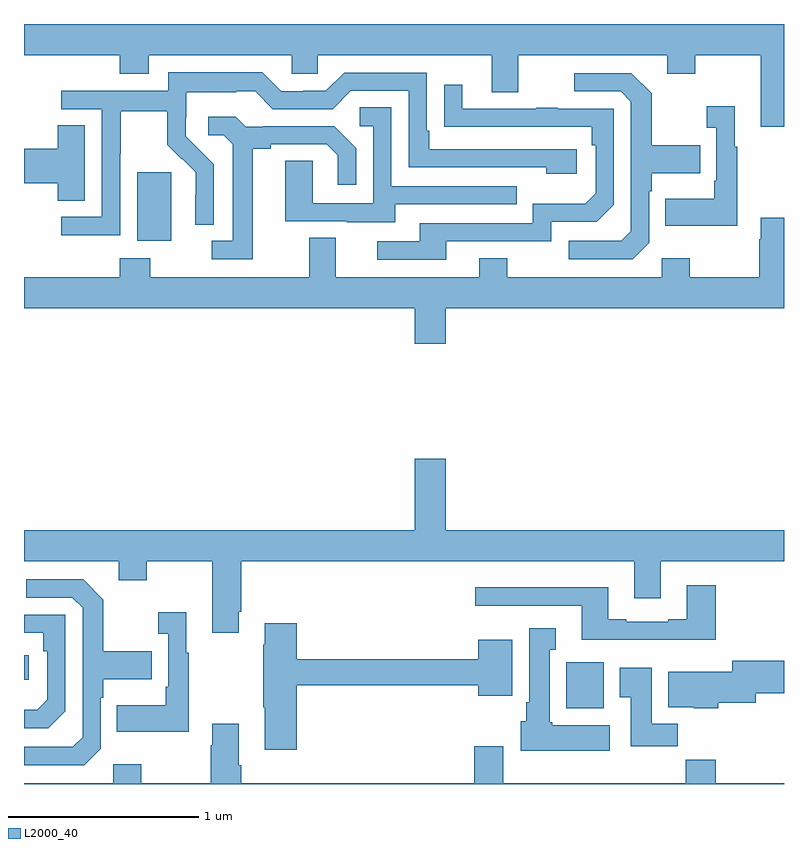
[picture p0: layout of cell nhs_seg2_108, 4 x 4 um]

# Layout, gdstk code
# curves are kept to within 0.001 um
import gdstk
lib = gdstk.Library(unit=1e-6, precision=1e-09)
def R(c, l, rs):  # rectangles x0, y0, x1, y1
    for r in rs: c.add(gdstk.rectangle(r[:2], r[2:], *l))
def P(c, l, *ps):  # polygons
    for p in ps: c.add(gdstk.Polygon(p, *l))
L2000_40 = (2000, 40)

nhs_seg2_108 = lib.new_cell('nhs_seg2_108')
R(nhs_seg2_108, L2000_40, [(117.854,644.198,118.051,644.44), (115,644.348,115.024,644.478), (115.595,646.658,115.774,647.019)])
P(nhs_seg2_108, L2000_40, [(119,647.8),(115,647.8),(115,647.636),(115.505,647.636),(115.505,647.537),(115.657,647.537),(115.657,647.636),(116.409,647.636),(116.409,647.538),(116.547,647.538),(116.547,647.636),(117.461,647.636),(117.461,647.442),(117.601,647.442),(117.601,647.636),(118.385,647.636),(118.385,647.537),(118.533,647.537),(118.533,647.636),(118.877,647.636),(118.877,647.259),(119,647.259)],
  [(115.506,647.116),(115.509,647.116),(115.509,647.34),(115.753,647.34),(115.753,647.165),(115.83,647.088),(115.833,647.091),(115.904,647.021),(115.904,646.898),(115.902,646.898),(115.902,646.744),(115.998,646.744),(115.998,647.062),(115.852,647.21),(115.852,647.307),(115.854,647.307),(115.854,647.441),(116.117,647.441),(116.117,647.445),(116.217,647.445),(116.31,647.352),(116.625,647.352),(116.721,647.448),(117.024,647.448),(117.024,647.046),(117.749,647.046),(117.749,647.012),(117.91,647.012),(117.91,647.142),(117.133,647.142),(117.133,647.239),(117.12,647.239),(117.12,647.544),(116.685,647.544),(116.589,647.448),(116.471,647.448),(116.471,647.445),(116.355,647.445),(116.255,647.545),(115.758,647.545),(115.758,647.448),(115.197,647.448),(115.197,647.352),(115.41,647.352),(115.41,646.785),(115.197,646.785),(115.197,646.687),(115.506,646.687)],
  [(118.29,646.65),(118.29,646.919),(118.303,646.919),(118.303,647.015),(118.559,647.015),(118.559,647.163),(118.303,647.163),(118.303,647.435),(118.197,647.541),(117.897,647.541),(117.897,647.445),(118.14,647.445),(118.194,647.391),(118.194,646.71),(118.143,646.659),(117.867,646.659),(117.867,646.563),(118.203,646.563)],
  [(117.223,646.656),(117.774,646.656),(117.774,646.758),(118.014,646.758),(118.104,646.848),(118.104,647.355),(117.809,647.355),(117.809,647.36),(117.697,647.36),(117.697,647.355),(117.307,647.355),(117.307,647.479),(117.211,647.479),(117.211,647.26),(117.988,647.259),(117.988,647.162),(118.008,647.162),(118.008,646.908),(117.955,646.855),(117.678,646.855),(117.678,646.752),(117.083,646.752),(117.083,646.656),(116.859,646.656),(116.859,646.56),(117.223,646.56)],
  [(118.753,647.155),(118.741,647.155),(118.741,647.368),(118.593,647.368),(118.593,647.255),(118.644,647.255),(118.644,646.975),(118.632,646.975),(118.632,646.879),(118.375,646.879),(118.375,646.739),(118.753,646.739)],
  [(116.953,646.851),(117.593,646.851),(117.593,646.947),(116.934,646.947),(116.934,647.363),(116.766,647.363),(116.766,647.262),(116.838,647.262),(116.838,646.857),(116.52,646.857),(116.52,647.081),(116.375,647.081),(116.375,646.761),(116.699,646.761),(116.699,646.757),(116.953,646.757)],
  [(116.203,647.144),(116.299,647.144),(116.299,647.166),(116.594,647.166),(116.651,647.109),(116.651,646.953),(116.748,646.953),(116.748,647.146),(116.632,647.262),(116.26,647.262),(116.26,647.259),(116.166,647.259),(116.114,647.311),(115.971,647.311),(115.971,647.214),(116.052,647.214),(116.099,647.167),(116.099,646.659),(115.989,646.659),(115.989,646.563),(116.203,646.563)],
  [(115.321,647.267),(115.178,647.267),(115.178,647.144),(115,647.144),(115,646.961),(115.178,646.961),(115.178,646.87),(115.321,646.87)],
  [(117.22,646.304),(119,646.304),(119,646.78),(118.877,646.78),(118.877,646.667),(118.87,646.667),(118.87,646.468),(118.503,646.468),(118.503,646.567),(118.356,646.567),(118.356,646.468),(117.543,646.468),(117.543,646.567),(117.395,646.567),(117.395,646.468),(116.641,646.468),(116.641,646.676),(116.501,646.676),(116.501,646.468),(115.665,646.468),(115.665,646.567),(115.505,646.567),(115.505,646.468),(115,646.468),(115,646.304),(117.056,646.304),(117.056,646.116),(117.22,646.116)],
  [(116.131,644.707),(116.144,644.707),(116.144,644.972),(118.211,644.972),(118.211,644.778),(118.351,644.778),(118.351,644.972),(119,644.972),(119,645.136),(117.22,645.136),(117.22,645.511),(117.056,645.511),(117.056,645.136),(115,645.136),(115,644.972),(115.499,644.972),(115.499,644.873),(115.647,644.873),(115.647,644.972),(115.991,644.972),(115.991,644.595),(116.131,644.595)],
  [(115.404,643.986),(115.404,644.255),(115.417,644.255),(115.417,644.351),(115.673,644.351),(115.673,644.499),(115.417,644.499),(115.417,644.771),(115.311,644.877),(115.011,644.877),(115.011,644.781),(115.254,644.781),(115.308,644.727),(115.308,644.046),(115.257,643.995),(115,643.995),(115,643.899),(115.317,643.899)],
  [(118.64,644.845),(118.487,644.845),(118.487,644.668),(118.391,644.668),(118.391,644.655),(118.171,644.655),(118.171,644.668),(118.075,644.668),(118.075,644.836),(117.375,644.836),(117.375,644.739),(117.935,644.739),(117.935,644.558),(118.64,644.558)],
  [(115.867,644.491),(115.855,644.491),(115.855,644.704),(115.707,644.704),(115.707,644.591),(115.758,644.591),(115.758,644.311),(115.746,644.311),(115.746,644.215),(115.489,644.215),(115.489,644.075),(115.867,644.075)],
  [(115.218,644.184),(115.218,644.691),(115,644.691),(115,644.595),(115.102,644.595),(115.102,644.498),(115.122,644.498),(115.122,644.244),(115.069,644.191),(115,644.191),(115,644.094),(115.128,644.094)],
  [(116.435,644.32),(117.392,644.32),(117.392,644.264),(117.571,644.264),(117.571,644.56),(117.392,644.56),(117.392,644.456),(116.435,644.456),(116.435,644.647),(116.267,644.647),(116.267,644.534),(116.26,644.534),(116.26,644.203),(116.267,644.203),(116.267,643.98),(116.435,643.98)],
  [(118.084,644.11),(117.78,644.11),(117.78,644.124),(117.766,644.124),(117.766,644.507),(117.799,644.507),(117.799,644.62),(117.659,644.62),(117.659,644.23),(117.644,644.23),(117.644,644.13),(117.614,644.13),(117.614,643.976),(118.084,643.976)],
  [(118.655,644.228),(118.852,644.228),(118.852,644.278),(119,644.278),(119,644.45),(118.728,644.45),(118.728,644.392),(118.391,644.392),(118.391,644.204),(118.524,644.204),(118.524,644.198),(118.655,644.198)],
  [(118.442,644.116),(118.303,644.116),(118.303,644.413),(118.136,644.413),(118.136,644.257),(118.193,644.257),(118.193,643.998),(118.442,643.998)],
  [(119,643.804),(118.64,643.804),(118.64,643.928),(118.483,643.928),(118.483,643.804),(117.523,643.804),(117.523,643.999),(117.371,643.999),(117.371,643.804),(116.144,643.804),(116.144,643.9),(116.131,643.9),(116.131,644.116),(115.991,644.116),(115.991,644.003),(115.984,644.003),(115.984,643.804),(115.617,643.804),(115.617,643.903),(115.47,643.903),(115.47,643.804),(115,643.804),(115,643.8),(119,643.8)])

lib.write_gds('nhs_seg2_108.gds')
